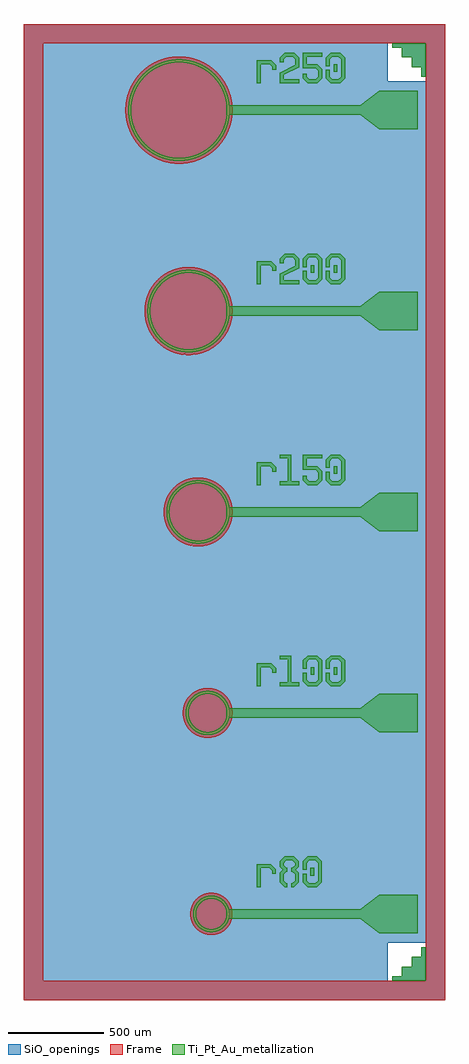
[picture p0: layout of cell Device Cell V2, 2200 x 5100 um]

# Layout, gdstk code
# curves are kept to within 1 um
from math import pi, radians
import gdstk
lib = gdstk.Library(unit=1e-6, precision=1e-09)
def R(c, l, rs):  # rectangles x0, y0, x1, y1
    for r in rs: c.add(gdstk.rectangle(r[:2], r[2:], *l))
def P(c, l, *ps):  # polygons
    for p in ps: c.add(gdstk.Polygon(p, *l))
Frame = (1, 0)
SiO_openings = (2, 0)
Ti_Pt_Au_metallization = (3, 0)

frame_tile = lib.new_cell('Frame Tile')

frame_tile_737 = lib.new_cell('Frame Tile_737')
P(frame_tile_737, Frame, [(0,0),(-100,-100),(-100,5000),(2100,5000),(2100,-100),(-100,-100),(0,0),(2000,0),(2000,4900),(0,4900)])

trapezoid_connection_ele = lib.new_cell('Trapezoid Connection Electrodes Pads')
P(trapezoid_connection_ele, Ti_Pt_Au_metallization, [(0,25),(0,-25),(100,-100),(100,100)])

rf_metal_rings = lib.new_cell('RF metal rings')

devices = lib.new_cell('Devices')
P(devices, Frame, [(0,110),(20.612,108.052),(41.41,101.908),(60.599,91.803),(77.432,78.13),(91.255,61.42),(101.532,42.323),(107.862,21.581),(110,0),(108.052,-20.612),(101.908,-41.41),(91.803,-60.599),(78.13,-77.432),(61.42,-91.255),(42.323,-101.532),(21.581,-107.862),(0,-110),(-20.612,-108.052),(-41.41,-101.908),(-60.599,-91.803),(-77.432,-78.13),(-91.255,-61.42),(-101.532,-42.323),(-107.862,-21.581),(-110,0),(-108.052,20.612),(-101.908,41.41),(-91.803,60.599),(-78.13,77.432),(-61.42,91.255),(-42.323,101.532),(-21.581,107.862)])
R(devices, Ti_Pt_Au_metallization, [(877.5,-100,1077.5,100), (77.5,-25,777.5,25), (517.5,200,537.5,240)])
P(devices, Ti_Pt_Au_metallization, [(0,-95),(18.664,-93.148),(36.601,-87.666),(53.112,-78.767),(67.551,-66.797),(79.358,-52.223),(88.072,-35.614),(93.19,-18.455),(95,0.213),(93.106,18.874),(87.584,36.798),(79.123,52.579),(67.251,67.1),(52.757,79.004),(36.207,87.83),(19.083,93.064),(0.427,94.999),(-18.246,93.231),(-36.207,87.83),(-52.757,79.004),(-67.251,67.1),(-79.123,52.579),(-87.584,36.798),(-93.106,18.874),(-95,0.213),(-93.19,-18.455),(-88.072,-35.614),(-79.358,-52.223),(-67.551,-66.797),(-53.112,-78.767),(-36.601,-87.666),(-18.664,-93.148),(0,-95),(0,-80),(-20.619,-77.297),(-39.219,-69.727),(-55.348,-57.763),(-68.366,-41.547),(-75.905,-25.268),(-79.627,-7.718),(-79.25,10.932),(-74.821,28.317),(-65.412,46.058),(-51.881,60.897),(-35.725,71.58),(-16.774,78.222),(3.235,79.935),(23.04,76.61),(41.393,68.459),(56.632,56.505),(69.99,38.748),(78.107,17.301),(79.806,-5.569),(74.947,-27.98),(63.056,-49.234),(45.911,-65.515),(24.071,-76.293),(0,-80)],
  [(237.5,140),(237.5,260),(311.644,260),(337.5,234.144),(337.5,210),(317.5,210),(317.5,225.856),(303.356,240),(257.5,240),(257.5,140)],
  [(383.356,140),(357.5,165.856),(357.5,214.144),(373.356,230),(357.5,245.856),(357.5,274.144),(383.356,300),(431.644,300),(457.5,274.144),(457.5,245.856),(441.644,230),(457.5,214.144),(457.5,165.856),(431.644,140),(417.3,140),(417.3,160),(423.356,160),(437.5,174.144),(437.5,205.856),(423.356,220),(417.3,220),(417.3,240),(423.356,240),(437.5,254.144),(437.5,265.856),(423.356,280),(391.644,280),(377.5,265.856),(377.5,254.144),(391.644,240),(397.7,240),(397.7,220),(391.644,220),(377.5,205.856),(377.5,174.144),(391.644,160),(397.7,160),(397.7,140)],
  [(503.356,140),(477.5,165.856),(477.5,210),(497.5,210),(497.5,174.144),(511.644,160),(543.356,160),(557.5,174.144),(557.5,265.856),(543.356,280),(511.644,280),(497.5,265.856),(497.5,230),(477.5,230),(477.5,274.144),(503.356,300),(551.644,300),(577.5,274.144),(577.5,165.856),(551.644,140)])
devices.add(gdstk.Reference(trapezoid_connection_ele, (777.5,0)))
devices.add(gdstk.Reference(rf_metal_rings, (93.204,111.076), rotation=radians(50)))

metal_corner_1_0_0_0_0 = lib.new_cell('Metal Corner:1,0,0,0,0')
R(metal_corner_1_0_0_0_0, Ti_Pt_Au_metallization, [(0,-25,175,0), (0,0,125,50), (0,50,75,100), (0,100,25,150)])

metal_corner_holes = lib.new_cell('Metal Corner Holes')

metal_corner_1_0_0_0_0_7 = lib.new_cell('Metal Corner:1,0,0,0,0_756')
R(metal_corner_1_0_0_0_0_7, Ti_Pt_Au_metallization, [(0,-25,175,0), (0,0,125,50), (0,50,75,100), (0,100,25,150)])

metal_corner_holes_761 = lib.new_cell('Metal Corner Holes_761')

c_trapezoid_connection_ele = lib.new_cell('Trapezoid Connection Electrodes Pads_769')
P(c_trapezoid_connection_ele, Ti_Pt_Au_metallization, [(0,25),(0,-25),(100,-100),(100,100)])

rf_metal_rings_771 = lib.new_cell('RF metal rings_771')

devices_767 = lib.new_cell('Devices_767')
P(devices_767, Frame, [(0,130),(25.505,127.474),(48.939,120.437),(71.617,108.495),(91.51,92.336),(107.847,72.588),(119.992,50.018),(127.474,25.505),(130,0),(127.474,-25.505),(120.437,-48.939),(108.495,-71.617),(92.336,-91.51),(72.588,-107.847),(50.018,-119.992),(25.505,-127.474),(0,-130),(-25.505,-127.474),(-48.939,-120.437),(-71.617,-108.495),(-91.51,-92.336),(-107.847,-72.588),(-119.992,-50.018),(-127.474,-25.505),(-130,0),(-127.474,25.505),(-120.437,48.939),(-108.495,71.617),(-92.336,91.51),(-72.588,107.847),(-50.018,119.992),(-25.505,127.474)])
R(devices_767, Ti_Pt_Au_metallization, [(897.5,-100,1097.5,100), (97.5,-25,797.5,25), (537.5,200,557.5,240), (657.5,200,677.5,240)])
P(devices_767, Ti_Pt_Au_metallization, [(0,-115),(22.594,-112.759),(44.307,-106.122),(64.293,-95.349),(81.043,-81.591),(95.493,-64.078),(106.221,-44.068),(112.809,-22.34),(115,0.258),(112.708,22.847),(106.022,44.545),(95.78,63.649),(81.409,81.226),(63.864,95.637),(44.783,105.922),(23.1,112.656),(0.517,114.999),(-22.087,112.859),(-43.829,106.32),(-63.864,95.637),(-81.409,81.226),(-95.78,63.649),(-106.022,44.545),(-112.708,22.847),(-115,0.258),(-112.809,-22.34),(-106.221,-44.068),(-95.493,-64.078),(-81.043,-81.591),(-64.293,-95.349),(-44.307,-106.122),(-22.594,-112.759),(0,-115),(0,-100),(-25.773,-96.622),(-49.024,-87.159),(-69.185,-72.204),(-84.987,-52.699),(-94.881,-31.585),(-99.533,-9.648),(-99.181,12.774),(-93.526,35.396),(-81.765,57.572),(-64.851,76.121),(-43.851,89.873),(-20.967,97.777),(4.044,99.918),(28.8,95.763),(51.741,85.574),(70.79,70.631),(80.182,59.756),(87.919,47.647),(93.841,34.554),(97.824,20.747),(99.788,6.512),(99.691,-7.857),(97.535,-22.064),(93.366,-35.816),(81.505,-57.939),(64.508,-76.412),(49.805,-86.715),(34.343,-93.918),(16.996,-98.545),(0,-100)],
  [(257.5,140),(257.5,260),(331.644,260),(357.5,234.144),(357.5,210),(337.5,210),(337.5,225.856),(323.356,240),(277.5,240),(277.5,140)],
  [(377.5,140),(377.5,160),(417.5,160),(417.5,280),(377.5,280),(377.5,300),(437.5,300),(437.5,160),(477.5,160),(477.5,140)],
  [(523.356,140),(497.5,165.856),(497.5,210),(517.5,210),(517.5,174.144),(531.644,160),(563.356,160),(577.5,174.144),(577.5,265.856),(563.356,280),(531.644,280),(517.5,265.856),(517.5,230),(497.5,230),(497.5,274.144),(523.356,300),(571.644,300),(597.5,274.144),(597.5,165.856),(571.644,140)],
  [(643.356,140),(617.5,165.856),(617.5,210),(637.5,210),(637.5,174.144),(651.644,160),(683.356,160),(697.5,174.144),(697.5,265.856),(683.356,280),(651.644,280),(637.5,265.856),(637.5,230),(617.5,230),(617.5,274.144),(643.356,300),(691.644,300),(717.5,274.144),(717.5,165.856),(691.644,140)])
devices_767.add(gdstk.Reference(c_trapezoid_connection_ele, (797.5,0)))
devices_767.add(gdstk.Reference(rf_metal_rings_771, (106.06,126.397), rotation=radians(50)))

c_metal_corner_1_0_0_0_0_7 = lib.new_cell('Metal Corner:1,0,0,0,0_773')
R(c_metal_corner_1_0_0_0_0_7, Ti_Pt_Au_metallization, [(0,-25,175,0), (0,0,125,50), (0,50,75,100), (0,100,25,150)])

metal_corner_holes_778 = lib.new_cell('Metal Corner Holes_778')

c_metal_corner_1_0_0_0_0_7_ = lib.new_cell('Metal Corner:1,0,0,0,0_784')
R(c_metal_corner_1_0_0_0_0_7_, Ti_Pt_Au_metallization, [(0,-25,175,0), (0,0,125,50), (0,50,75,100), (0,100,25,150)])

metal_corner_holes_789 = lib.new_cell('Metal Corner Holes_789')

c_trapezoid_connection_ele_ = lib.new_cell('Trapezoid Connection Electrodes Pads_797')
P(c_trapezoid_connection_ele_, Ti_Pt_Au_metallization, [(0,25),(0,-25),(100,-100),(100,100)])

rf_metal_rings_799 = lib.new_cell('RF metal rings_799')

devices_795 = lib.new_cell('Devices_795')
P(devices_795, Frame, [(0,180),(33.729,176.812),(67.762,166.758),(99.161,150.223),(126.707,127.849),(149.327,100.506),(166.143,69.256),(176.502,35.314),(180,0),(176.812,-33.729),(166.758,-67.762),(150.223,-99.161),(127.849,-126.707),(100.506,-149.327),(69.256,-166.143),(35.314,-176.502),(0,-180),(-33.729,-176.812),(-67.762,-166.758),(-99.161,-150.223),(-126.707,-127.849),(-149.327,-100.506),(-166.143,-69.256),(-176.502,-35.314),(-180,0),(-176.812,33.729),(-166.758,67.762),(-150.223,99.161),(-127.849,126.707),(-100.506,149.327),(-69.256,166.143),(-35.314,176.502)])
R(devices_795, Ti_Pt_Au_metallization, [(947.5,-100,1147.5,100), (147.5,-25,847.5,25), (707.5,200,727.5,240)])
P(devices_795, Ti_Pt_Au_metallization, [(0,-165),(32.417,-161.784),(63.571,-152.262),(91.013,-137.629),(116.279,-117.065),(137.012,-91.939),(152.405,-63.228),(161.857,-32.054),(165,0.371),(161.711,32.781),(152.119,63.913),(137.424,91.322),(116.804,116.541),(91.631,137.218),(64.254,151.975),(33.144,161.637),(0.742,164.998),(-31.69,161.928),(-62.886,152.546),(-91.631,137.218),(-115.751,117.587),(-136.597,92.554),(-152.119,63.913),(-161.711,32.781),(-165,0.371),(-161.857,-32.054),(-152.405,-63.228),(-137.012,-91.939),(-116.279,-117.065),(-91.013,-137.629),(-63.571,-152.262),(-32.417,-161.784),(0,-165),(0,-150),(-22.832,-148.252),(-43.845,-143.449),(-65.169,-135.104),(-83.86,-124.368),(-107.604,-104.505),(-126.765,-80.192),(-135.25,-64.866),(-141.89,-48.655),(-146.595,-31.78),(-149.3,-14.472),(-149.969,3.034),(-148.593,20.498),(-145.19,37.682),(-139.806,54.353),(-131.879,71.47),(-121.866,87.457),(-109.925,102.061),(-96.246,115.051),(-82.176,125.488),(-65.776,134.809),(-48.336,141.999),(-30.131,146.943),(-11.45,149.562),(7.413,149.817),(26.158,147.702),(43.2,143.645),(60.887,137.087),(76.455,129.053),(92.048,118.436),(106.185,105.947),(120.274,89.634),(132.516,70.282),(141.221,50.563),(147.01,29.801),(149.763,8.423),(149.424,-13.129),(146,-34.41),(139.561,-54.98),(130.903,-73.242),(119.87,-90.174),(107.604,-104.505),(92.579,-118.022),(72.358,-131.394),(48.973,-141.78),(25.494,-147.818),(0,-150)],
  [(307.5,140),(307.5,260),(381.644,260),(407.5,234.144),(407.5,210),(387.5,210),(387.5,225.856),(373.356,240),(327.5,240),(327.5,140)],
  [(427.5,140),(427.5,160),(467.5,160),(467.5,280),(427.5,280),(427.5,300),(487.5,300),(487.5,160),(527.5,160),(527.5,140)],
  [(573.356,140),(547.5,165.856),(547.5,190),(567.5,190),(567.5,174.144),(581.644,160),(613.356,160),(627.5,174.144),(627.5,205.856),(613.356,220),(547.5,220),(547.5,300),(647.5,300),(647.5,280),(567.5,280),(567.5,240),(621.644,240),(647.5,214.144),(647.5,165.856),(621.644,140)],
  [(693.356,140),(667.5,165.856),(667.5,210),(687.5,210),(687.5,174.144),(701.644,160),(733.356,160),(747.5,174.144),(747.5,265.856),(733.356,280),(701.644,280),(687.5,265.856),(687.5,230),(667.5,230),(667.5,274.144),(693.356,300),(741.644,300),(767.5,274.144),(767.5,165.856),(741.644,140)])
devices_795.add(gdstk.Reference(c_trapezoid_connection_ele_, (847.5,0)))
devices_795.add(gdstk.Reference(rf_metal_rings_799, (138.199,164.7), rotation=radians(50)))

metal_corner_1_0_0_0_0_8 = lib.new_cell('Metal Corner:1,0,0,0,0_801')
R(metal_corner_1_0_0_0_0_8, Ti_Pt_Au_metallization, [(0,-25,175,0), (0,0,125,50), (0,50,75,100), (0,100,25,150)])

metal_corner_holes_806 = lib.new_cell('Metal Corner Holes_806')

c_metal_corner_1_0_0_0_0_8 = lib.new_cell('Metal Corner:1,0,0,0,0_812')
R(c_metal_corner_1_0_0_0_0_8, Ti_Pt_Au_metallization, [(0,-25,175,0), (0,0,125,50), (0,50,75,100), (0,100,25,150)])

metal_corner_holes_817 = lib.new_cell('Metal Corner Holes_817')

c_trapezoid_connection_ele__ = lib.new_cell('Trapezoid Connection Electrodes Pads_825')
P(c_trapezoid_connection_ele__, Ti_Pt_Au_metallization, [(0,25),(0,-25),(100,-100),(100,100)])

rf_metal_rings_827 = lib.new_cell('RF metal rings_827')

devices_823 = lib.new_cell('Devices_823')
P(devices_823, Frame, [(0,230),(22.672,228.88),(43.098,225.926),(65.159,220.577),(86.585,213.08),(107.167,203.507),(126.706,191.952),(145.011,178.527),(161.903,163.363),(177.218,146.608),(190.807,128.424),(202.537,108.99),(212.294,88.494),(219.984,67.136),(225.53,45.124),(228.88,22.672),(230,0),(228.88,-22.672),(225.926,-43.098),(220.577,-65.159),(213.08,-86.585),(203.507,-107.167),(191.952,-126.706),(178.527,-145.011),(163.363,-161.903),(146.608,-177.218),(128.424,-190.807),(108.99,-202.537),(88.494,-212.294),(67.136,-219.984),(45.124,-225.53),(22.672,-228.88),(0,-230),(-22.672,-228.88),(-43.098,-225.926),(-65.159,-220.577),(-86.585,-213.08),(-107.167,-203.507),(-126.706,-191.952),(-145.011,-178.527),(-161.903,-163.363),(-177.218,-146.608),(-190.807,-128.424),(-202.537,-108.99),(-212.294,-88.494),(-219.984,-67.136),(-225.53,-45.124),(-228.88,-22.672),(-230,0),(-228.88,22.672),(-225.926,43.098),(-220.577,65.159),(-213.08,86.585),(-203.507,107.167),(-191.952,126.706),(-178.527,145.011),(-163.363,161.903),(-146.608,177.218),(-128.424,190.807),(-108.99,202.537),(-88.494,212.294),(-67.136,219.984),(-45.124,225.53),(-22.672,228.88)])
R(devices_823, Ti_Pt_Au_metallization, [(997.5,-100,1197.5,100), (197.5,-25,897.5,25), (637.5,200,657.5,240), (757.5,200,777.5,240)])
P(devices_823, Ti_Pt_Au_metallization, [(0,-215),(21.224,-213.95),(42.241,-210.81),(81.048,-199.139),(100.31,-190.165),(118.593,-179.334),(135.716,-166.751),(151.515,-152.54),(165.833,-136.838),(178.531,-119.799),(189.485,-101.59),(198.588,-82.389),(205.751,-62.382),(210.904,-41.767),(214.995,-1.449),(214.088,19.781),(211.09,40.818),(199.681,79.704),(190.837,99.026),(180.13,117.381),(167.663,134.589),(153.558,150.483),(137.952,164.906),(121,177.719),(102.865,188.796),(83.725,198.028),(63.768,205.326),(43.188,210.618),(22.185,213.852),(0.966,214.998),(-39.394,211.36),(-60.067,206.439),(-80.152,199.501),(-99.454,190.614),(-117.785,179.866),(-134.966,167.36),(-150.828,153.219),(-165.216,137.582),(-177.991,120.6),(-189.026,102.44),(-198.216,83.28),(-205.468,63.306),(-210.714,42.714),(-213.902,21.705),(-214.999,0.483),(-213.997,-20.743),(-210.904,-41.767),(-205.751,-62.382),(-198.588,-82.389),(-189.485,-101.59),(-178.531,-119.799),(-165.833,-136.838),(-151.515,-152.54),(-135.716,-166.751),(-118.593,-179.334),(-100.31,-190.165),(-81.048,-199.139),(-42.241,-210.81),(-21.224,-213.95),(0,-215),(0,-200),(-28.665,-197.935),(-56.738,-191.783),(-83.64,-181.671),(-107.302,-168.779),(-124.848,-156.246),(-140.944,-141.897),(-155.401,-125.899),(-168.052,-108.437),(-179.548,-88.105),(-188.596,-66.571),(-195.46,-42.373),(-199.067,-19.296),(-199.959,4.045),(-198.124,27.33),(-193.127,51.981),(-185.749,74.143),(-174.975,96.87),(-161.433,118.066),(-145.338,137.394),(-128.328,153.401),(-108.059,168.295),(-86.082,180.527),(-64.447,189.332),(-40.174,195.923),(-15.266,199.417),(9.884,199.756),(33.106,197.241),(57.6,191.526),(81.183,182.782),(101.94,172.071),(122.731,157.915),(141.58,141.262),(160.365,119.512),(175.838,95.293),(187.681,69.107),(195.648,41.494),(199.575,13.025),(199.382,-15.714),(195.071,-44.129),(186.081,-73.307),(174.538,-97.656),(158.739,-121.663),(140.944,-141.897),(120.59,-159.556),(93.312,-176.898),(63.596,-189.62),(32.219,-197.388),(0,-200)],
  [(357.5,140),(357.5,260),(431.644,260),(457.5,234.144),(457.5,210),(437.5,210),(437.5,225.856),(423.356,240),(377.5,240),(377.5,140)],
  [(477.5,140),(477.5,196.18),(557.5,236.18),(557.5,265.856),(543.356,280),(511.644,280),(497.5,265.856),(497.5,250),(477.5,250),(477.5,274.144),(503.356,300),(551.644,300),(577.5,274.144),(577.5,223.82),(497.5,183.82),(497.5,160),(577.5,160),(577.5,140)],
  [(623.356,140),(597.5,165.856),(597.5,210),(617.5,210),(617.5,174.144),(631.644,160),(663.356,160),(677.5,174.144),(677.5,265.856),(663.356,280),(631.644,280),(617.5,265.856),(617.5,230),(597.5,230),(597.5,274.144),(623.356,300),(671.644,300),(697.5,274.144),(697.5,165.856),(671.644,140)],
  [(743.356,140),(717.5,165.856),(717.5,210),(737.5,210),(737.5,174.144),(751.644,160),(783.356,160),(797.5,174.144),(797.5,265.856),(783.356,280),(751.644,280),(737.5,265.856),(737.5,230),(717.5,230),(717.5,274.144),(743.356,300),(791.644,300),(817.5,274.144),(817.5,165.856),(791.644,140)])
devices_823.add(gdstk.Reference(c_trapezoid_connection_ele__, (897.5,0)))
devices_823.add(gdstk.Reference(rf_metal_rings_827, (170.339,203.002), rotation=radians(50)))

c_metal_corner_1_0_0_0_0_8_ = lib.new_cell('Metal Corner:1,0,0,0,0_829')
R(c_metal_corner_1_0_0_0_0_8_, Ti_Pt_Au_metallization, [(0,-25,175,0), (0,0,125,50), (0,50,75,100), (0,100,25,150)])

metal_corner_holes_834 = lib.new_cell('Metal Corner Holes_834')

c_metal_corner_1_0_0_0_0_8__ = lib.new_cell('Metal Corner:1,0,0,0,0_840')
R(c_metal_corner_1_0_0_0_0_8__, Ti_Pt_Au_metallization, [(0,-25,175,0), (0,0,125,50), (0,50,75,100), (0,100,25,150)])

metal_corner_holes_845 = lib.new_cell('Metal Corner Holes_845')

c_trapezoid_connection_ele___ = lib.new_cell('Trapezoid Connection Electrodes Pads_853')
P(c_trapezoid_connection_ele___, Ti_Pt_Au_metallization, [(0,25),(0,-25),(100,-100),(100,100)])

rf_metal_rings_855 = lib.new_cell('RF metal rings_855')

devices_851 = lib.new_cell('Devices_851')
P(devices_851, Frame, [(0,280),(25.099,278.873),(52.467,275.04),(79.323,268.529),(105.407,259.402),(130.465,247.748),(154.251,233.681),(176.535,217.337),(197.099,198.876),(215.744,178.479),(232.287,156.342),(246.567,132.683),(258.445,107.732),(267.806,81.731),(274.558,54.933),(278.636,27.601),(280,0),(278.873,-25.099),(275.04,-52.467),(268.529,-79.323),(259.402,-105.407),(247.748,-130.465),(233.681,-154.251),(217.337,-176.535),(198.876,-197.099),(178.479,-215.744),(156.342,-232.287),(132.683,-246.567),(107.732,-258.445),(81.731,-267.806),(54.933,-274.558),(27.601,-278.636),(0,-280),(-25.099,-278.873),(-52.467,-275.04),(-79.323,-268.529),(-105.407,-259.402),(-130.465,-247.748),(-154.251,-233.681),(-176.535,-217.337),(-197.099,-198.876),(-215.744,-178.479),(-232.287,-156.342),(-246.567,-132.683),(-258.445,-107.732),(-267.806,-81.731),(-274.558,-54.933),(-278.636,-27.601),(-280,0),(-278.873,25.099),(-275.04,52.467),(-268.529,79.323),(-259.402,105.407),(-247.748,130.465),(-233.681,154.251),(-217.337,176.535),(-198.876,197.099),(-178.479,215.744),(-156.342,232.287),(-132.683,246.567),(-107.732,258.445),(-81.731,267.806),(-54.933,274.558),(-27.601,278.636)])
R(devices_851, Ti_Pt_Au_metallization, [(1047.5,-100,1247.5,100), (247.5,-25,947.5,25), (807.5,200,827.5,240)])
P(devices_851, Ti_Pt_Au_metallization, [(0,-265),(26.16,-263.706),(49.726,-260.293),(75.178,-254.113),(99.896,-245.45),(123.638,-234.39),(146.172,-221.04),(167.278,-205.531),(186.751,-188.014),(204.398,-168.66),(220.05,-147.659),(233.551,-125.215),(244.771,-101.549),(253.6,-76.89),(259.952,-51.48),(263.764,-25.567),(264.994,-1.787),(263.876,24.381),(260.18,50.311),(253.943,75.749),(245.225,100.448),(234.111,124.165),(220.711,146.669),(205.154,167.74),(187.594,187.173),(168.201,204.777),(147.164,220.381),(124.69,233.832),(100.998,244.999),(76.32,253.772),(50.896,260.067),(24.974,263.821),(1.191,264.997),(-24.974,263.821),(-50.896,260.067),(-76.32,253.772),(-100.998,244.999),(-124.69,233.832),(-147.164,220.381),(-168.201,204.777),(-187.594,187.173),(-205.154,167.74),(-220.711,146.669),(-234.111,124.165),(-245.225,100.448),(-253.252,78.029),(-259.718,52.648),(-263.646,26.752),(-264.999,0.596),(-263.764,-25.567),(-259.952,-51.48),(-253.6,-76.89),(-244.771,-101.549),(-233.551,-125.215),(-220.05,-147.659),(-204.398,-168.66),(-186.751,-188.014),(-167.278,-205.531),(-146.172,-221.04),(-123.638,-234.39),(-99.896,-245.45),(-75.178,-254.113),(-49.726,-260.293),(-26.16,-263.706),(0,-265),(0,-250),(-35.831,-247.419),(-68.765,-240.357),(-100.451,-228.931),(-130.313,-213.351),(-154.299,-196.703),(-174.578,-178.948),(-194.251,-157.374),(-210.065,-135.547),(-224.435,-110.131),(-235.745,-83.213),(-244.325,-52.967),(-248.834,-24.12),(-249.949,5.056),(-247.655,34.163),(-241.409,64.976),(-232.187,92.678),(-218.718,121.088),(-201.791,147.582),(-181.672,171.742),(-160.41,191.752),(-135.074,210.369),(-109.626,224.682),(-80.559,236.665),(-50.218,244.904),(-19.083,249.271),(10.11,249.796),(41.382,246.551),(72,239.408),(101.479,228.478),(127.425,215.088),(153.413,197.394),(176.975,176.578),(200.456,149.39),(219.798,119.117),(235.368,84.272),(245.017,49.668),(249.606,14.038),(248.834,-24.12),(242.808,-59.535),(231.768,-93.721),(217.066,-124.026),(198.424,-152.079),(176.18,-177.372),(148.939,-200.791),(116.64,-221.123),(79.495,-237.024),(40.273,-246.735),(0,-250)],
  [(407.5,140),(407.5,260),(481.644,260),(507.5,234.144),(507.5,210),(487.5,210),(487.5,225.856),(473.356,240),(427.5,240),(427.5,140)],
  [(527.5,140),(527.5,196.18),(607.5,236.18),(607.5,265.856),(593.356,280),(561.644,280),(547.5,265.856),(547.5,250),(527.5,250),(527.5,274.144),(553.356,300),(601.644,300),(627.5,274.144),(627.5,223.82),(547.5,183.82),(547.5,160),(627.5,160),(627.5,140)],
  [(673.356,140),(647.5,165.856),(647.5,190),(667.5,190),(667.5,174.144),(681.644,160),(713.356,160),(727.5,174.144),(727.5,205.856),(713.356,220),(647.5,220),(647.5,300),(747.5,300),(747.5,280),(667.5,280),(667.5,240),(721.644,240),(747.5,214.144),(747.5,165.856),(721.644,140)],
  [(793.356,140),(767.5,165.856),(767.5,210),(787.5,210),(787.5,174.144),(801.644,160),(833.356,160),(847.5,174.144),(847.5,265.856),(833.356,280),(801.644,280),(787.5,265.856),(787.5,230),(767.5,230),(767.5,274.144),(793.356,300),(841.644,300),(867.5,274.144),(867.5,165.856),(841.644,140)])
devices_851.add(gdstk.Reference(c_trapezoid_connection_ele___, (947.5,0)))
devices_851.add(gdstk.Reference(rf_metal_rings_855, (202.478,241.304), rotation=radians(50)))

c_metal_corner_1_0_0_0_0_8___ = lib.new_cell('Metal Corner:1,0,0,0,0_857')
R(c_metal_corner_1_0_0_0_0_8___, Ti_Pt_Au_metallization, [(0,-25,175,0), (0,0,125,50), (0,50,75,100), (0,100,25,150)])

metal_corner_holes_862 = lib.new_cell('Metal Corner Holes_862')

c_metal_corner_1_0_0_0_0_8____ = lib.new_cell('Metal Corner:1,0,0,0,0_868')
R(c_metal_corner_1_0_0_0_0_8____, Ti_Pt_Au_metallization, [(0,-25,175,0), (0,0,125,50), (0,50,75,100), (0,100,25,150)])

metal_corner_holes_873 = lib.new_cell('Metal Corner Holes_873')

device_cell_v2 = lib.new_cell('Device Cell V2')
P(device_cell_v2, SiO_openings, [(-173.18,2677.508),(-133.432,2681.812),(-95.305,2693.842),(-60.284,2713.127),(-29.735,2738.918),(-4.848,2770.207),(13.407,2805.776),(23.988,2842.449),(27.487,2882.275),(23.094,2922.013),(10.979,2960.113),(-8.386,2995.091),(-34.244,3025.582),(-65.59,3050.399),(-101.2,3068.573),(-137.896,3079.072),(-177.73,3082.482),(-215.677,3078.373),(-253.858,3066.515),(-288.965,3047.387),(-319.63,3021.734),(-344.657,2990.556),(-363.071,2955.07),(-374.155,2916.657),(-377.475,2876.815),(-373.281,2838.878),(-361.337,2800.723),(-342.13,2765.659),(-316.408,2735.052),(-285.175,2710.095),(-249.647,2691.76),(-212.998,2681.097)],
  [(-123.629,1677.506),(-95.039,1680.472),(-66.245,1689.273),(-39.742,1703.559),(-16.562,1722.774),(2.391,1746.168),(16.378,1772.83),(24.855,1801.721),(27.49,1831.713),(24.182,1861.639),(15.595,1889.071),(1.249,1915.542),(-18.018,1938.679),(-41.455,1957.579),(-68.148,1971.507),(-97.057,1979.918),(-127.056,1982.486),(-155.633,1979.392),(-184.387,1970.462),(-210.825,1956.057),(-233.919,1936.738),(-252.766,1913.259),(-266.634,1886.534),(-274.981,1857.606),(-277.497,1828.972),(-274.322,1799.031),(-265.328,1770.298),(-251.632,1745.026),(-232.47,1721.803),(-209.118,1702.798),(-182.487,1688.75),(-153.616,1680.209)],
  [(-74.079,677.504),(-53.959,679.683),(-34.66,685.772),(-16.934,695.534),(-1.471,708.588),(10.623,723.654),(20.025,741.574),(25.722,760.993),(27.494,781.152),(25.27,801.266),(19.137,820.551),(9.336,838.256),(-3.753,853.69),(-19.62,866.251),(-37.644,875.451),(-56.219,880.765),(-76.382,882.491),(-96.491,880.222),(-114.916,874.409),(-132.686,864.727),(-148.208,851.742),(-160.876,835.961),(-170.197,817.998),(-175.807,798.555),(-177.498,779.309),(-175.364,759.185),(-169.319,739.872),(-159.597,722.124),(-146.577,706.631),(-130.768,693.999),(-112.784,684.718),(-93.328,679.152)],
  [(-55.258,-352.497),(-39.791,-350.892),(-24.215,-346.131),(-9.877,-338.403),(2.663,-328.008),(12.916,-315.352),(20.483,-300.928),(25.069,-285.299),(26.495,-269.073),(24.705,-252.884),(19.769,-237.361),(12.299,-223.723),(1.876,-211.207),(-10.803,-200.982),(-25.244,-193.447),(-40.884,-188.897),(-57.112,-187.507),(-73.298,-189.334),(-88.809,-194.304),(-103.041,-202.226),(-115.44,-212.789),(-125.12,-224.958),(-132.622,-239.416),(-137.137,-255.066),(-138.49,-271.298),(-136.627,-287.479),(-131.622,-302.979),(-123.669,-317.193),(-113.611,-329.053),(-100.886,-339.221),(-87.1,-346.414),(-71.481,-351.035)],
  [(-477.469,3926.028),(-475.844,3901.125),(-471.768,3876.504),(-465.282,3852.405),(-456.448,3829.064),(-446.453,3808.695),(-433.397,3787.427),(-418.305,3767.551),(-401.324,3749.262),(-382.621,3732.739),(-362.379,3718.143),(-340.794,3705.616),(-320.184,3696.128),(-296.632,3687.874),(-272.381,3681.985),(-247.666,3678.519),(-222.73,3677.51),(-197.817,3678.968),(-173.169,3682.877),(-149.027,3689.201),(-125.627,3697.877),(-103.198,3708.82),(-81.959,3721.924),(-62.117,3737.061),(-45.455,3752.461),(-28.806,3771.053),(-14.074,3791.196),(-1.402,3812.696),(9.086,3835.342),(17.287,3858.912),(23.121,3883.177),(26.531,3907.899),(27.484,3932.837),(25.971,3957.747),(22.006,3982.387),(15.628,4006.514),(7.788,4027.806),(-3.004,4050.308),(-15.965,4071.635),(-30.967,4091.578),(-47.865,4109.943),(-66.494,4126.55),(-86.671,4141.237),(-108.199,4153.861),(-130.868,4164.298),(-154.457,4172.446),(-178.734,4178.225),(-203.464,4181.58),(-228.404,4182.477),(-253.311,4180.908),(-277.942,4176.887),(-302.055,4170.455),(-323.329,4162.568),(-345.807,4151.725),(-367.104,4138.717),(-387.014,4123.669),(-405.341,4106.73),(-421.906,4088.064),(-436.548,4067.854),(-449.123,4046.298),(-459.509,4023.605),(-467.604,3999.998),(-473.329,3975.708),(-476.628,3950.97)],
  [(1165,-720),(1165,4380),(-1035,4380),(-1035,3930.59),(-487.499,3930.59),(-486.387,3954.151),(-482.726,3979.836),(-477.212,4002.771),(-469.661,4025.117),(-460.135,4046.696),(-447.467,4069.337),(-434.061,4088.745),(-417.369,4108.607),(-398.798,4126.725),(-380.437,4141.532),(-360.821,4154.631),(-340.108,4165.916),(-318.466,4175.297),(-293.794,4183.325),(-270.776,4188.478),(-247.389,4191.543),(-214.385,4192.285),(-179.224,4188.478),(-147.144,4180.688),(-114.152,4167.947),(-85.163,4152.153),(-56.57,4131.339),(-31.034,4106.871),(-9.582,4080),(865,4080),(865,4280),(890,4280),(890,4255),(940,4255),(940,4205),(990,4205),(990,4155),(1040,4155),(1040,4105),(1065,4105),(1065,4080),(-9.582,4080),(7.999,4050.904),(22.137,4018.486),(31.788,3984.461),(36.593,3951.801),(37.261,3918.795),(33.374,3883.643),(24.798,3849.332),(12.698,3818.617),(-4.432,3787.676),(-24.04,3761.118),(-46.826,3737.23),(-74.356,3715.029),(-102.528,3697.821),(-134.85,3683.465),(-168.809,3673.585),(-203.787,3668.359),(-232.078,3667.595),(-257.947,3669.576),(-285.792,3674.636),(-310.703,3681.885),(-334.778,3691.557),(-359.81,3704.761),(-383.275,3720.583),(-403.174,3737.23),(-422.892,3757.532),(-438.951,3777.91),(-454.081,3801.827),(-465.614,3825.067),(-474.798,3849.332),(-482.03,3876.693),(-486.037,3902.327),(-487.499,3930.59),(-1035,3930.59),(-1035,2880.478),(-387.499,2880.478),(-383.635,2920.344),(-378.634,2940.742),(-371.643,2960.548),(-362.731,2979.566),(-351.985,2997.612),(-339.511,3014.508),(-325.429,3030.091),(-294.593,3055.653),(-276.669,3066.6),(-257.752,3075.725),(-238.026,3082.938),(-217.685,3088.169),(-196.927,3091.366),(-175.955,3092.498),(-154.973,3091.554),(-134.187,3088.544),(-95.78,3077.181),(-76.702,3068.398),(-58.584,3057.774),(-41.604,3045.414),(-25.926,3031.437),(-11.705,3015.982),(0.921,2999.198),(11.828,2981.249),(20.911,2962.312),(28.079,2942.57),(33.264,2922.217),(36.414,2901.452),(37.499,2880.478),(36.509,2859.498),(33.452,2838.719),(28.358,2818.343),(21.279,2798.569),(12.281,2779.591),(1.455,2761.594),(-23.898,2730.586),(-39.386,2716.4),(-56.198,2703.812),(-74.171,2692.945),(-93.129,2683.905),(-112.886,2676.781),(-133.251,2671.642),(-154.023,2668.538),(-175,2667.5),(-195.977,2668.538),(-216.749,2671.642),(-237.114,2676.781),(-256.871,2683.905),(-275.829,2692.945),(-293.802,2703.812),(-310.614,2716.4),(-326.102,2730.586),(-351.455,2761.594),(-362.281,2779.591),(-371.279,2798.569),(-378.358,2818.343),(-383.452,2838.719),(-386.509,2859.498),(-387.499,2880.478),(-1035,2880.478),(-1035,1830.365),(-287.5,1830.365),(-284.545,1860.851),(-275.374,1891.595),(-260.342,1919.938),(-240.034,1944.776),(-215.242,1965.139),(-186.933,1980.235),(-156.21,1989.475),(-125.73,1992.498),(-93.79,1989.475),(-63.067,1980.235),(-34.758,1965.139),(-9.966,1944.776),(10.342,1919.938),(25.374,1891.595),(34.545,1860.851),(37.5,1830.365),(34.682,1799.866),(25.649,1769.081),(10.744,1740.671),(-9.451,1715.742),(-34.151,1695.268),(-62.392,1680.045),(-93.074,1670.667),(-125,1667.5),(-156.926,1670.667),(-187.608,1680.045),(-215.849,1695.268),(-240.549,1715.742),(-260.744,1740.671),(-275.649,1769.081),(-284.682,1799.866),(-287.5,1830.365),(-1035,1830.365),(-1035,780.253),(-187.5,780.253),(-185.454,801.358),(-179.105,822.643),(-168.698,842.265),(-154.639,859.46),(-137.475,873.558),(-117.877,884.009),(-96.607,890.406),(-75.506,892.499),(-53.393,890.406),(-32.123,884.009),(-12.525,873.558),(4.639,859.46),(18.698,842.265),(29.105,822.643),(35.454,801.358),(37.5,780.253),(35.357,758.145),(28.912,736.89),(18.417,717.315),(4.281,700.183),(-12.946,686.162),(-32.591,675.799),(-53.89,669.498),(-75,667.5),(-96.11,669.498),(-117.409,675.799),(-137.054,686.162),(-154.281,700.183),(-168.417,717.315),(-178.912,736.89),(-185.357,758.145),(-187.5,780.253),(-1035,780.253),(-1035,-269.792),(-148.5,-269.792),(-146.656,-251.623),(-141.279,-234.17),(-133.041,-218.804),(-121.481,-204.666),(-108.058,-193.539),(-92.021,-184.802),(-74.581,-179.385),(-56.416,-177.501),(-38.235,-179.222),(-20.746,-184.482),(-4.631,-193.075),(9.481,-204.666),(21.041,-218.804),(29.279,-234.17),(34.656,-251.623),(36.5,-269.792),(34.896,-287.153),(29.754,-304.677),(21.27,-320.849),(9.774,-335.039),(-4.286,-346.694),(-20.362,-355.359),(-37.827,-360.697),(-56,-362.5),(-74.173,-360.697),(-91.638,-355.359),(-107.714,-346.694),(-121.774,-335.039),(-133.27,-320.849),(-141.754,-304.677),(-146.896,-287.153),(-148.5,-269.792),(-1035,-269.792),(-1035,-620),(865,-620),(865,-420),(1065,-420),(1065,-445),(1040,-445),(1040,-495),(990,-495),(990,-545),(940,-545),(940,-595),(890,-595),(890,-620),(-1035,-620),(-1035,-720)])
device_cell_v2.add(gdstk.Reference(frame_tile, (-935,-620)))
device_cell_v2.add(gdstk.Reference(frame_tile_737, (-935,-620)))
device_cell_v2.add(gdstk.Reference(devices, (-56,-270)))
device_cell_v2.add(gdstk.Reference(metal_corner_1_0_0_0_0, (1065,4255), rotation=pi))
device_cell_v2.add(gdstk.Reference(metal_corner_holes, (890,4280), rotation=3*pi/2))
device_cell_v2.add(gdstk.Reference(metal_corner_1_0_0_0_0_7, (1040,-620), rotation=pi/2))
device_cell_v2.add(gdstk.Reference(metal_corner_holes_761, (1065,-445), rotation=pi))
device_cell_v2.add(gdstk.Reference(devices_767, (-75,780)))
device_cell_v2.add(gdstk.Reference(c_metal_corner_1_0_0_0_0_7, (1065,4255), rotation=pi))
device_cell_v2.add(gdstk.Reference(metal_corner_holes_778, (890,4280), rotation=3*pi/2))
device_cell_v2.add(gdstk.Reference(c_metal_corner_1_0_0_0_0_7_, (1040,-620), rotation=pi/2))
device_cell_v2.add(gdstk.Reference(metal_corner_holes_789, (1065,-445), rotation=pi))
device_cell_v2.add(gdstk.Reference(devices_795, (-125,1830)))
device_cell_v2.add(gdstk.Reference(metal_corner_1_0_0_0_0_8, (1065,4255), rotation=pi))
device_cell_v2.add(gdstk.Reference(metal_corner_holes_806, (890,4280), rotation=3*pi/2))
device_cell_v2.add(gdstk.Reference(c_metal_corner_1_0_0_0_0_8, (1040,-620), rotation=pi/2))
device_cell_v2.add(gdstk.Reference(metal_corner_holes_817, (1065,-445), rotation=pi))
device_cell_v2.add(gdstk.Reference(devices_823, (-175,2880)))
device_cell_v2.add(gdstk.Reference(c_metal_corner_1_0_0_0_0_8_, (1065,4255), rotation=pi))
device_cell_v2.add(gdstk.Reference(metal_corner_holes_834, (890,4280), rotation=3*pi/2))
device_cell_v2.add(gdstk.Reference(c_metal_corner_1_0_0_0_0_8__, (1040,-620), rotation=pi/2))
device_cell_v2.add(gdstk.Reference(metal_corner_holes_845, (1065,-445), rotation=pi))
device_cell_v2.add(gdstk.Reference(devices_851, (-225,3930)))
device_cell_v2.add(gdstk.Reference(c_metal_corner_1_0_0_0_0_8___, (1065,4255), rotation=pi))
device_cell_v2.add(gdstk.Reference(metal_corner_holes_862, (890,4280), rotation=3*pi/2))
device_cell_v2.add(gdstk.Reference(c_metal_corner_1_0_0_0_0_8____, (1040,-620), rotation=pi/2))
device_cell_v2.add(gdstk.Reference(metal_corner_holes_873, (1065,-445), rotation=pi))

lib.write_gds('Device_Cell_V2.gds')
